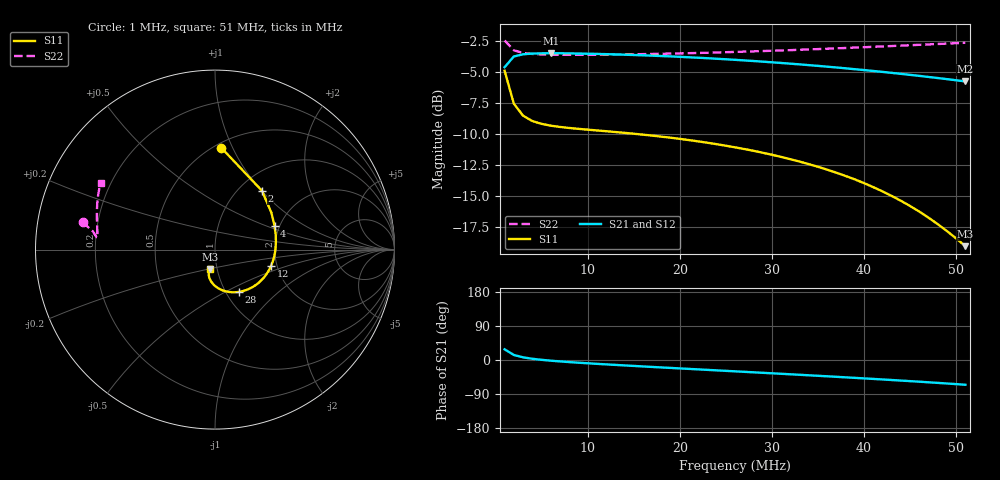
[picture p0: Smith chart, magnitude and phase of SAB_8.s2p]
# MHz S RI R 50
! S-Parameters data
! Freq  reS11  imS11  reS21  imS21  reS12  imS12  reS22  imS22
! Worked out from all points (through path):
!   51 points, 1 MHz to 51 MHz, reference 50 ohm
!   highest |S21| = -3.49 dB at 6 MHz (marker M1); lowest = -5.8 dB at 51 MHz (marker M2)
!   group delay of S21, straight-line fit = 4.05 ns
!   lowest |S11| = -19.0 dB at 51 MHz (marker M3), VSWR 1.25, Z = 46.2 - j10.1 ohm
!   |S11| at or under -10 dB: 15.55 MHz to end of sweep
!   |S22| runs from -3.6 to -2.5 dB; largest |S21 - S12| = 0.00047
!   S11 on the Smith chart (normalised r, x): 1 MHz: 0.54, +0.91; 2 MHz: 1.26, +1.00; 4 MHz: 1.88, +0.57; 12 MHz: 1.85, -0.38; 28 MHz: 1.15, -0.59; 51 MHz: 0.92, -0.20
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1  0.0345 0.5681  0.5186 0.2773  0.5187 0.2772  -0.7378 0.1525
2  0.2617 0.3279  0.6321 0.1496  0.6321 0.1494  -0.6802 0.1013
3  0.3141 0.2058  0.6578 0.0813  0.6578 0.081  -0.6664 0.0798
4  0.3317 0.1331  0.6661 0.0376  0.6663 0.0374  -0.6612 0.0705
5  0.3381 0.0829  0.6687 0.00546  0.6687 0.00525  -0.6587 0.067
6  0.3394 0.0448  0.669 -0.0208  0.6689 -0.021  -0.6573 0.0664
8  0.3349 -0.0124  0.6653 -0.0637  0.6653 -0.0639  -0.6559 0.0697
10  0.3252 -0.0561  0.6588 -0.0999  0.659 -0.1003  -0.6553 0.0764
12  0.3118 -0.0923  0.6502 -0.1327  0.6503 -0.1329  -0.6554 0.0844
15  0.2868 -0.1367  0.6342 -0.1774  0.6342 -0.1777  -0.6555 0.0987
18  0.2567 -0.1724  0.6144 -0.2188  0.6143 -0.2188  -0.6559 0.115
22  0.2108 -0.2078  0.583 -0.2688  0.5827 -0.2687  -0.6567 0.1382
26  0.1605 -0.2296  0.5459 -0.3139  0.5458 -0.3138  -0.6575 0.1631
28  0.1346 -0.2355  0.5254 -0.3345  0.5253 -0.3345  -0.6578 0.1764
31  0.0959 -0.2377  0.4924 -0.3629  0.4923 -0.3627  -0.6579 0.1972
35  0.0478 -0.229  0.4447 -0.3959  0.4447 -0.3956  -0.6573 0.2271
39  0.00703 -0.2081  0.3929 -0.4231  0.3929 -0.4229  -0.6558 0.2596
43  -0.0218 -0.1773  0.3375 -0.4445  0.3375 -0.4442  -0.6522 0.2943
45  -0.0305 -0.1598  0.3083 -0.4529  0.3083 -0.4528  -0.6495 0.3128
47  -0.0347 -0.1418  0.2782 -0.4597  0.2783 -0.4597  -0.6459 0.3319
49  -0.0341 -0.1244  0.2472 -0.465  0.2472 -0.4648  -0.6418 0.3517
51  -0.0285 -0.1085  0.2151 -0.4686  0.2151 -0.4682  -0.6366 0.3723
